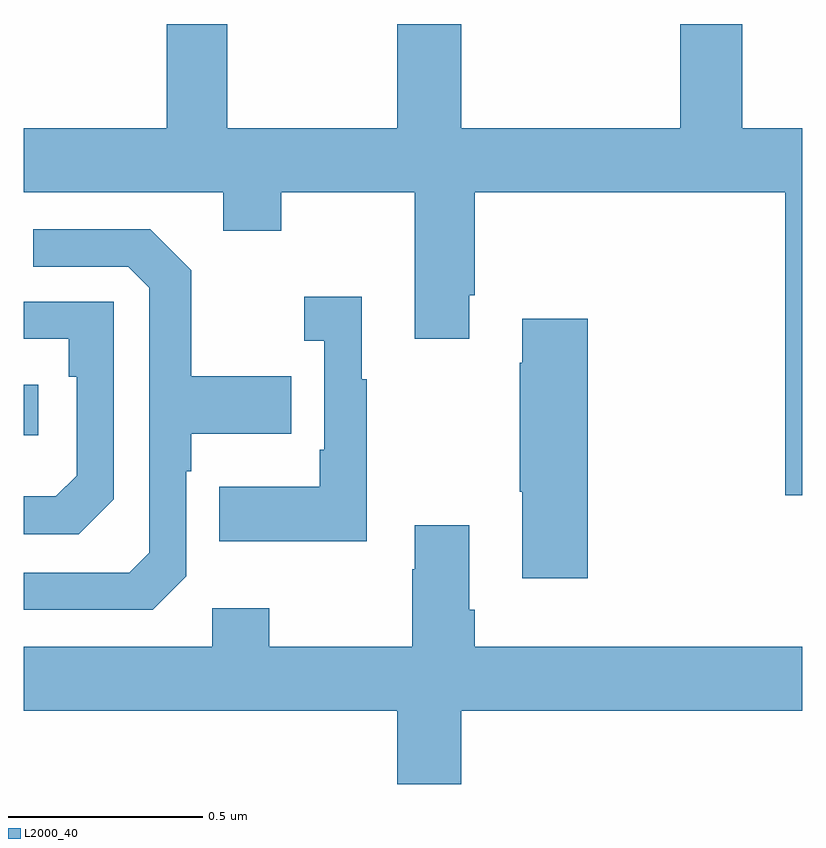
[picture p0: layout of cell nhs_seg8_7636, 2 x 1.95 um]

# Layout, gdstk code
import gdstk
lib = gdstk.Library(unit=1e-6, precision=1e-09)
def R(c, l, rs):  # rectangles x0, y0, x1, y1
    for r in rs: c.add(gdstk.rectangle(r[:2], r[2:], *l))
def P(c, l, *ps):  # polygons
    for p in ps: c.add(gdstk.Polygon(p, *l))
L2000_40 = (2000, 40)

nhs_seg8_7636 = lib.new_cell('nhs_seg8_7636')
R(nhs_seg8_7636, L2000_40, [(212,1147.844,212.038,1147.974)])
P(nhs_seg8_7636, L2000_40, [(214,1148.632),(213.846,1148.632),(213.846,1148.9),(213.686,1148.9),(213.686,1148.632),(213.124,1148.632),(213.124,1148.9),(212.96,1148.9),(212.96,1148.632),(212.523,1148.632),(212.523,1148.9),(212.368,1148.9),(212.368,1148.632),(212,1148.632),(212,1148.468),(212.513,1148.468),(212.513,1148.369),(212.661,1148.369),(212.661,1148.468),(213.005,1148.468),(213.005,1148.091),(213.145,1148.091),(213.145,1148.203),(213.158,1148.203),(213.158,1148.468),(213.956,1148.468),(213.956,1147.689),(214,1147.689)],
  [(212.418,1147.482),(212.418,1147.751),(212.431,1147.751),(212.431,1147.847),(212.687,1147.847),(212.687,1147.995),(212.431,1147.995),(212.431,1148.267),(212.325,1148.373),(212.025,1148.373),(212.025,1148.277),(212.268,1148.277),(212.322,1148.223),(212.322,1147.542),(212.271,1147.491),(212,1147.491),(212,1147.395),(212.331,1147.395)],
  [(212.881,1147.987),(212.869,1147.987),(212.869,1148.2),(212.721,1148.2),(212.721,1148.087),(212.772,1148.087),(212.772,1147.807),(212.76,1147.807),(212.76,1147.711),(212.503,1147.711),(212.503,1147.571),(212.881,1147.571)],
  [(212.232,1147.68),(212.232,1148.187),(212,1148.187),(212,1148.091),(212.116,1148.091),(212.116,1147.994),(212.136,1147.994),(212.136,1147.74),(212.083,1147.687),(212,1147.687),(212,1147.59),(212.142,1147.59)],
  [(213.449,1148.143),(213.281,1148.143),(213.281,1148.03),(213.274,1148.03),(213.274,1147.699),(213.281,1147.699),(213.281,1147.476),(213.449,1147.476)],
  [(213.124,1147.136),(214,1147.136),(214,1147.3),(213.158,1147.3),(213.158,1147.396),(213.145,1147.396),(213.145,1147.612),(213.005,1147.612),(213.005,1147.499),(212.998,1147.499),(212.998,1147.3),(212.631,1147.3),(212.631,1147.399),(212.484,1147.399),(212.484,1147.3),(212,1147.3),(212,1147.136),(212.96,1147.136),(212.96,1146.948),(213.124,1146.948)])

lib.write_gds('nhs_seg8_7636.gds')
